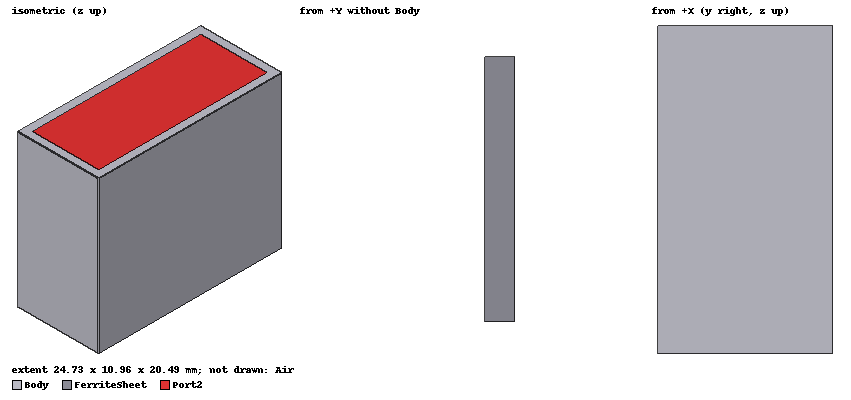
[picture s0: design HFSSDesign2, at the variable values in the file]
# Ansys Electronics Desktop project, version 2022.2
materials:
  vacuum: permittivity=1
  ferrite: permittivity=12 permeability=100 saturation_mag=0.45tesla lande_g_factor=2 delta_H_freq=5000000000
  pec: conductivity=1e+30
  ferrite_project: permittivity=12.1 permeability=55 saturation_mag=1780gauss lande_g_factor=2 delta_H=300 delta_H_freq=15000000000
  air: permittivity=1.5 permeability=1.0000004 dielectric_loss_tangent=0.2

design HFSSDesign2 (HFSS, DrivenModal, model units mm)
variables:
  a = 22.727273mm
  b = 8.9571795mm
  l = 1mm
  t = 0.1*a
  c = 0.35*a
  ll = (40.977295481606 / 2) mm
  H = 90mm
  d1 = 2mm
  Hi = 0
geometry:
  Body [pec] = box(corner=(-l, -l, 0), size=(a+2*l, b+2*l, ll))
  Body_Diff = box(corner=(0, 0, 0), size=(a, b, ll))
  Body.subtract(Body_Diff)
  FerriteSheet [ferrite] = box(corner=(c, 0, 0.25mm), size=(t, b, ll - 2*0.25mm))
  Air_Ferrite_Diff = box(corner=(c, 0, 0.25mm), size=(t, b, ll - 2*0.25mm))
  Air [vacuum] = box(corner=(0, 0, 0), size=(a, b, ll))
  Air.subtract(Air_Ferrite_Diff)
  Port1 = rectangle(corner=(0, 0mm, 0mm), x_size=a, y_size=b)
  Port2 = rectangle(corner=(0, 0mm, ll), x_size=a, y_size=b)
  ResistiveSheet = rectangle(corner=(c+t, 0mm, 0.25mm), y_size=b, z_size=ll - 2*0.25mm)
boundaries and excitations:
  MagBias1: Magnetic Bias Objects=FerriteSheet IsUniformBias Bias=120000 XAngle=-90deg YAngle=0deg ZAngle=0deg PathRelativeTo=TargetProject MKSBias=120000
  Imped1: Impedance Objects=ResistiveSheet Resistance=75 Reactance=0
  1: Wave Port Objects=Port1 NumModes=1 Modes{Mode1{IntLine{(11.363636, 4.4785898, 0) -> (11363.636mm, 5279.7443mm, 0mm)} CharImp=Zpi}}
  2: Wave Port Objects=Port2 NumModes=1 Modes{Mode1{IntLine{(11.363636, 4.4785898, 20.488648) -> (11363.636mm, 5279.7443mm, 20488.648mm)} CharImp=Zpi}}
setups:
  Setup1: HfssDriven Frequency=15GHz MaxDeltaS=0.01 MaximumPasses=10 MinimumPasses=1 MinimumConvergedPasses=1 PercentRefinement=30 BasisOrder=1 PortAccuracy=2 DrivenSolverType="Direct Solver"
    sweep Sweep: 12.5GHz to 18.5GHz, 151 points; Type=Interpolating InterpTolerance=0.5 InterpMaxSolns=250 InterpUsePortImped=false PassivityErrorTolerance=0.0001
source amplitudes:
  1:1: 1W 0deg
  2:1: 0W 0deg
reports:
  S Parameter Plot 1: dB(S(1,1)), dB(S(2,1)), dB(S(1,2)), dB(S(2,2)) vs Freq on Setup1 : Sweep
  Gamma Plot 1: im(Gamma(1)), im(Gamma(2)) vs Freq on Setup1 : Sweep
